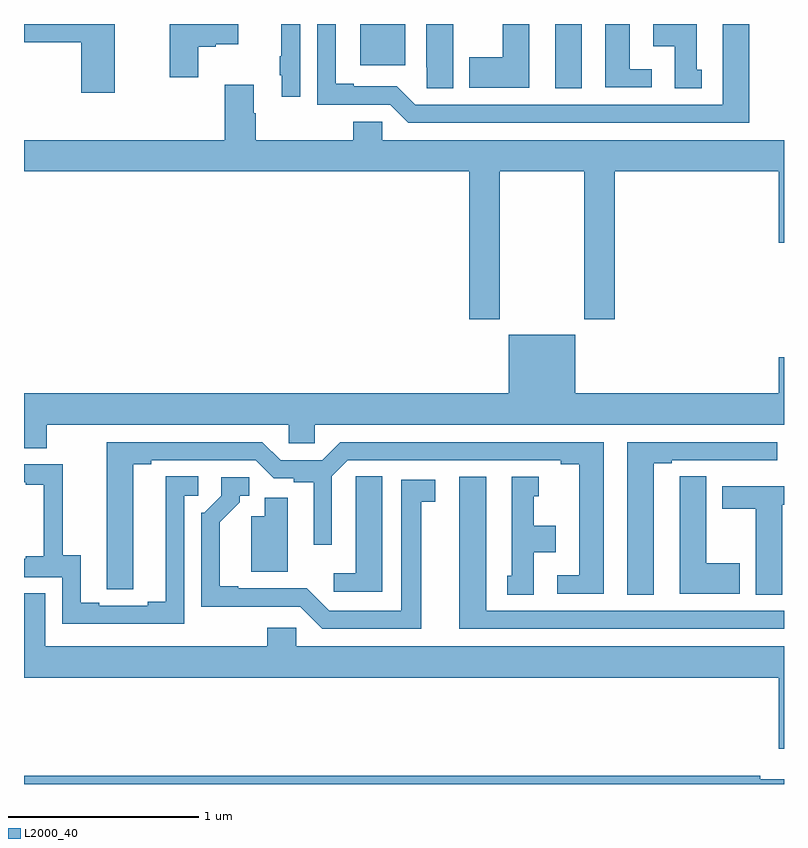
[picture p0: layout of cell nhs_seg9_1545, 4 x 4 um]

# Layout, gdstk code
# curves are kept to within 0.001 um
import gdstk
lib = gdstk.Library(unit=1e-6, precision=1e-09)
def R(c, l, rs):  # rectangles x0, y0, x1, y1
    for r in rs: c.add(gdstk.rectangle(r[:2], r[2:], *l))
def P(c, l, *ps):  # polygons
    for p in ps: c.add(gdstk.Polygon(p, *l))
L2000_40 = (2000, 40)

nhs_seg9_1545 = lib.new_cell('nhs_seg9_1545')
R(nhs_seg9_1545, L2000_40, [(199.796,1226.161,199.936,1226.5), (198.77,1226.282,199.006,1226.5)])
P(nhs_seg9_1545, L2000_40, [(198.453,1226.5),(198.355,1226.5),(198.355,1226.33),(198.345,1226.33),(198.345,1226.23),(198.356,1226.23),(198.356,1226.118),(198.453,1226.118)],
  [(197.478,1226.5),(197,1226.5),(197,1226.404),(197.3,1226.404),(197.3,1226.139),(197.478,1226.139)],
  [(199.258,1226.5),(199.118,1226.5),(199.118,1226.272),(199.119,1226.272),(199.119,1226.161),(199.258,1226.161)],
  [(200.566,1226.259),(200.542,1226.259),(200.542,1226.5),(200.312,1226.5),(200.312,1226.384),(200.426,1226.384),(200.426,1226.161),(200.566,1226.161)],
  [(200.818,1226.5),(200.678,1226.5),(200.678,1226.076),(199.059,1226.076),(198.963,1226.172),(198.736,1226.172),(198.736,1226.185),(198.64,1226.185),(198.64,1226.5),(198.543,1226.5),(198.543,1226.076),(198.927,1226.076),(199.023,1225.98),(200.818,1225.98)],
  [(197.916,1226.381),(198.009,1226.381),(198.009,1226.393),(198.127,1226.393),(198.127,1226.5),(197.767,1226.5),(197.767,1226.22),(197.916,1226.22)],
  [(200.305,1226.262),(200.188,1226.262),(200.188,1226.5),(200.06,1226.5),(200.06,1226.166),(200.305,1226.166)],
  [(199.66,1226.5),(199.52,1226.5),(199.52,1226.325),(199.343,1226.325),(199.343,1226.165),(199.66,1226.165)],
  [(199.503,1225.724),(199.948,1225.724),(199.948,1224.945),(200.108,1224.945),(200.108,1225.724),(200.972,1225.724),(200.972,1225.35),(201,1225.35),(201,1225.888),(198.885,1225.888),(198.885,1225.986),(198.734,1225.986),(198.734,1225.888),(198.221,1225.888),(198.221,1226.03),(198.208,1226.03),(198.208,1226.179),(198.056,1226.179),(198.056,1225.888),(197,1225.888),(197,1225.724),(199.343,1225.724),(199.343,1224.945),(199.503,1224.945)],
  [(197.121,1224.392),(198.393,1224.392),(198.393,1224.294),(198.531,1224.294),(198.531,1224.392),(201,1224.392),(201,1224.745),(200.972,1224.745),(200.972,1224.556),(199.9,1224.556),(199.9,1224.865),(199.55,1224.865),(199.55,1224.556),(197,1224.556),(197,1224.268),(197.121,1224.268)],
  [(200.314,1224.189),(200.41,1224.189),(200.41,1224.204),(200.686,1224.204),(200.686,1224.203),(200.852,1224.203),(200.852,1224.204),(200.965,1224.204),(200.965,1224.3),(200.174,1224.3),(200.174,1223.497),(200.314,1223.497)],
  [(200.05,1224.3),(198.665,1224.3),(198.569,1224.204),(198.351,1224.204),(198.255,1224.3),(197.435,1224.3),(197.436,1223.524),(197.575,1223.524),(197.575,1224.184),(197.671,1224.184),(197.671,1224.204),(198.219,1224.204),(198.315,1224.108),(198.42,1224.108),(198.42,1224.088),(198.524,1224.088),(198.524,1223.76),(198.621,1223.76),(198.621,1224.12),(198.705,1224.204),(199.826,1224.204),(199.826,1224.184),(199.922,1224.184),(199.922,1223.598),(199.806,1223.598),(199.806,1223.502),(200.05,1223.502)],
  [(197.844,1224.018),(197.917,1224.018),(197.917,1224.119),(197.747,1224.119),(197.747,1223.459),(197.651,1223.459),(197.651,1223.439),(197.395,1223.439),(197.395,1223.454),(197.299,1223.454),(197.299,1223.705),(197.205,1223.705),(197.205,1224.183),(197,1224.183),(197,1224.087),(197.009,1224.087),(197.009,1224.075),(197.105,1224.075),(197.105,1223.698),(197.009,1223.698),(197.009,1223.685),(197,1223.685),(197,1223.589),(197.202,1223.589),(197.202,1223.343),(197.844,1223.343)],
  [(200.767,1223.661),(200.59,1223.661),(200.59,1224.119),(200.451,1224.119),(200.451,1224.011),(200.45,1224.011),(200.45,1223.501),(200.767,1223.501)],
  [(198.886,1224.119),(198.747,1224.119),(198.747,1224.011),(198.746,1224.011),(198.746,1223.608),(198.63,1223.608),(198.63,1223.511),(198.886,1223.511)],
  [(201,1223.412),(199.432,1223.412),(199.432,1224.118),(199.292,1224.118),(199.292,1223.316),(201,1223.316)],
  [(199.684,1223.72),(199.798,1223.72),(199.798,1223.86),(199.684,1223.86),(199.684,1224.015),(199.708,1224.015),(199.708,1224.118),(199.568,1224.118),(199.568,1223.595),(199.544,1223.595),(199.544,1223.497),(199.684,1223.497)],
  [(199.09,1223.986),(199.165,1223.986),(199.165,1224.102),(198.986,1224.102),(198.986,1223.412),(198.606,1223.412),(198.489,1223.529),(198.127,1223.529),(198.127,1223.542),(198.031,1223.542),(198.031,1223.878),(198.136,1223.983),(198.136,1224.018),(198.186,1224.018),(198.186,1224.114),(198.039,1224.114),(198.039,1224.018),(197.949,1223.928),(197.934,1223.928),(197.934,1223.432),(198.453,1223.433),(198.57,1223.316),(199.09,1223.316)],
  [(200.991,1223.608),(200.992,1223.608),(200.992,1223.97),(201,1223.97),(201,1224.066),(200.675,1224.066),(200.675,1223.95),(200.852,1223.95),(200.852,1223.497),(200.991,1223.497)],
  [(198.388,1224.006),(198.266,1224.006),(198.266,1223.908),(198.197,1223.908),(198.197,1223.618),(198.388,1223.618)],
  [(201,1223.224),(198.432,1223.224),(198.432,1223.322),(198.281,1223.322),(198.281,1223.224),(197.113,1223.224),(197.113,1223.504),(197,1223.504),(197,1223.06),(200.972,1223.06),(200.972,1222.686),(201,1222.686)],
  [(201,1222.525),(200.876,1222.525),(200.876,1222.544),(197,1222.544),(197,1222.5),(201,1222.5)])

lib.write_gds('nhs_seg9_1545.gds')
